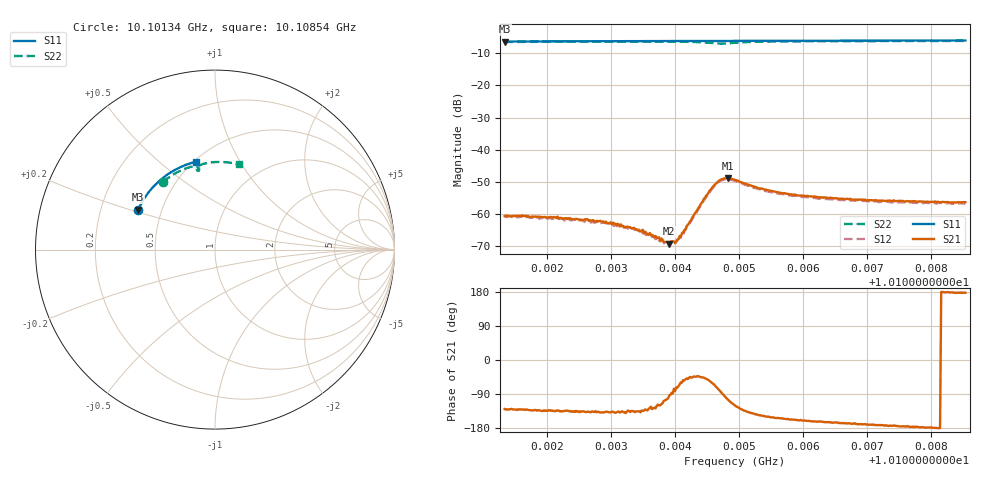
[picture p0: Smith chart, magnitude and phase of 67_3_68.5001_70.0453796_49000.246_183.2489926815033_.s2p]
#  HZ  S  RI  R  50.00
! Rohde & Schwarz Vector Network Analyzer
! Rohde-Schwarz,ZNB20-2Port,1311601062101988,3.16
! Created: UTC 3/20/2024, 5:06:45 PM
! freq[Hz]  re:S11  im:S11  re:S21  im:S21  re:S12  im:S12  re:S22  im:S22
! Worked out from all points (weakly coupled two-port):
!   401 points, 10.10134 GHz to 10.10854 GHz, reference 50 ohm
!   highest |S21| = -48.81 dB at 10.10483 GHz (marker M1); lowest = -69.2 dB at 10.10391 GHz (marker M2)
!   lowest |S11| = -6.3 dB at 10.10134 GHz (marker M3), VSWR 2.87, Z = 18.3 + j10.6 ohm
!   |S11| at or under -10 dB: nowhere
!   |S22| runs from -7.0 to -6.1 dB; largest |S21 - S12| = 0.00037
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1.0101339e10  -0.4286 0.2221  -0.000593 -0.000723  -0.00053 -0.00076  -0.2897 0.3767
1.0102131e10  -0.4066 0.265  -0.000627 -0.000623  -0.00057 -0.000653  -0.2486 0.4078
1.0102545e10  -0.3934 0.2865  -0.000592 -0.000565  -0.000554 -0.000584  -0.2256 0.4222
1.0102852e10  -0.3828 0.3019  -0.000568 -0.000506  -0.000502 -0.000524  -0.2078 0.4321
1.0103158e10  -0.3718 0.3168  -0.000505 -0.000472  -0.000461 -0.00047  -0.1895 0.4412
1.010341e10  -0.3623 0.3288  -0.000412 -0.000403  -0.000365 -0.000424  -0.1738 0.448
1.0103752e10  -0.3486 0.3444  -0.000217 -0.000377  -0.00016 -0.000352  -0.1511 0.4561
1.0103878e10  -0.3436 0.3502  -8.4e-05 -0.000363  -3.98e-05 -0.000341  -0.1421 0.4585
1.0103914e10  -0.3421 0.3518  -2.05e-05 -0.000348  1.05e-05 -0.000317  -0.1396 0.4593
1.0104004e10  -0.3384 0.3558  4.89e-05 -0.000349  0.000102 -0.000341  -0.1328 0.4608
1.0104058e10  -0.336 0.3581  0.00015 -0.000388  0.00019 -0.000364  -0.1286 0.4614
1.010413e10  -0.3329 0.3612  0.00031 -0.000412  0.000295 -0.000382  -0.1229 0.4621
1.0104455e10  -0.3185 0.3748  0.00119 -0.00126  0.00118 -0.0011  -0.0951 0.4569
1.0104617e10  -0.3113 0.3812  0.00117 -0.00254  0.00134 -0.00235  -0.0879 0.4446
1.0104725e10  -0.3066 0.3856  0.000278 -0.00346  0.000599 -0.00327  -0.0926 0.4382
1.0104833e10  -0.3016 0.3898  -0.000947 -0.0035  -0.00059 -0.00343  -0.0998 0.4415
1.0104941e10  -0.2967 0.394  -0.00172 -0.00295  -0.00137 -0.00299  -0.1009 0.4507
1.0105445e10  -0.2727 0.4128  -0.00204 -0.00119  -0.00182 -0.00132  -0.0689 0.4764
1.0105823e10  -0.2537 0.4258  -0.00186 -0.000798  -0.00169 -0.00092  -0.0424 0.4831
1.0106148e10  -0.237 0.4361  -0.00178 -0.000572  -0.00163 -0.000724  -0.0204 0.4863
1.0107354e10  -0.1716 0.4684  -0.00162 -0.000181  -0.00151 -0.000337  0.0588 0.4869
1.0108543e10  -0.1033 0.4904  -0.00153 6.97e-05  -0.00146 -6.46e-05  0.1342 0.4747
